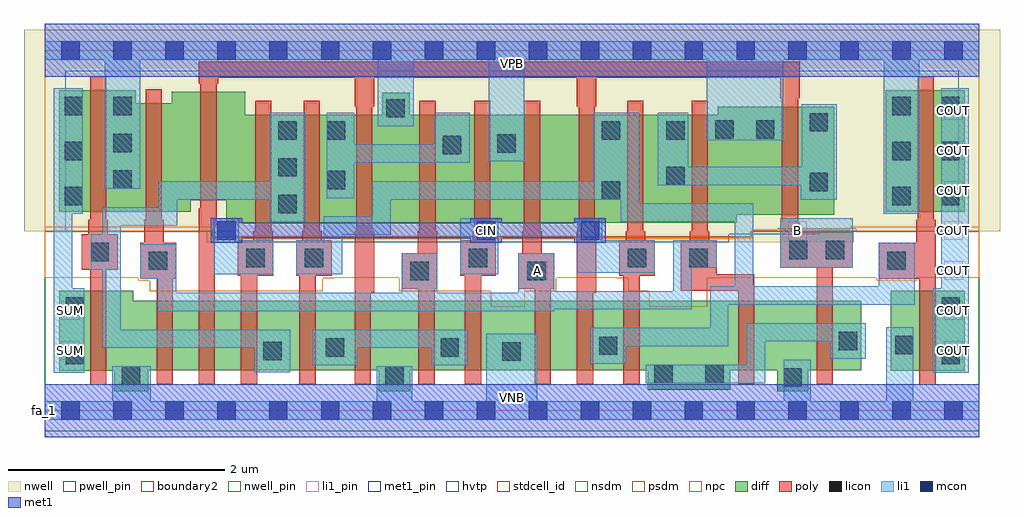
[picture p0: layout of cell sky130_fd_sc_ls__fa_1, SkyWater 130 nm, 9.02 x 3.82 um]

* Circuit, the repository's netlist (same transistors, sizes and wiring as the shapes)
* Copyright 2020 The SkyWater PDK Authors
*
* Licensed under the Apache License, Version 2.0 (the "License");
* you may not use this file except in compliance with the License.
* You may obtain a copy of the License at
*
*     https://www.apache.org/licenses/LICENSE-2.0
*
* Unless required by applicable law or agreed to in writing, software
* distributed under the License is distributed on an "AS IS" BASIS,
* WITHOUT WARRANTIES OR CONDITIONS OF ANY KIND, either express or implied.
* See the License for the specific language governing permissions and
* limitations under the License.
*
* SPDX-License-Identifier: Apache-2.0

.SUBCKT sky130_fd_sc_ls__fa_1 A B CIN VGND VNB VPB VPWR COUT SUM
*.PININFO A:I B:I CIN:I VGND:I VNB:I VPB:I VPWR:I COUT:O SUM:O
MMNs1s nint1 majb sumb VNB sky130_fd_pr__nfet_01v8 m=1 w=0.64U l=0.15U mult=1 sa=0.265
+ sb=0.265 sd=0.28 area=0.063 perim=1.14
MMIN2 COUT majb VGND VNB sky130_fd_pr__nfet_01v8 m=1 w=0.74U l=0.15U mult=1 sa=0.265
+ sb=0.265 sd=0.28 area=0.063 perim=1.14
MMIN3 SUM sumb VGND VNB sky130_fd_pr__nfet_01v8 m=1 w=0.74U l=0.15U mult=1 sa=0.265
+ sb=0.265 sd=0.28 area=0.063 perim=1.14
MMNmaj10 majb B sndNAp1 VNB sky130_fd_pr__nfet_01v8 m=1 w=0.64U l=0.15U mult=1
+ sa=0.265 sb=0.265 sd=0.28 area=0.063 perim=1.14
MMNmaj11 sndNAp1 A VGND VNB sky130_fd_pr__nfet_01v8 m=1 w=0.64U l=0.15U mult=1
+ sa=0.265 sb=0.265 sd=0.28 area=0.063 perim=1.14
MMNmaj30 majb CIN sndNCINn3 VNB sky130_fd_pr__nfet_01v8 m=1 w=0.64U l=0.15U mult=1
+ sa=0.265 sb=0.265 sd=0.28 area=0.063 perim=1.14
MMNmaj31 sndNCINn3 B VGND VNB sky130_fd_pr__nfet_01v8 m=1 w=0.64U l=0.15U mult=1
+ sa=0.265 sb=0.265 sd=0.28 area=0.063 perim=1.14
MMNmaj20 VGND A sndNCINn3 VNB sky130_fd_pr__nfet_01v8 m=1 w=0.64U l=0.15U mult=1
+ sa=0.265 sb=0.265 sd=0.28 area=0.063 perim=1.14
MMNs2s0 VGND A sndNAn4 VNB sky130_fd_pr__nfet_01v8 m=1 w=0.64U l=0.15U mult=1 sa=0.265
+ sb=0.265 sd=0.28 area=0.063 perim=1.14
MMNs2s1 sndNAn4 B sndNBn4 VNB sky130_fd_pr__nfet_01v8 m=1 w=0.64U l=0.15U mult=1
+ sa=0.265 sb=0.265 sd=0.28 area=0.063 perim=1.14
MMNs2s2 sndNBn4 CIN sumb VNB sky130_fd_pr__nfet_01v8 m=1 w=0.64U l=0.15U mult=1
+ sa=0.265 sb=0.265 sd=0.28 area=0.063 perim=1.14
MMNs3s0 nint1 B VGND VNB sky130_fd_pr__nfet_01v8 m=1 w=0.64U l=0.15U mult=1 sa=0.265
+ sb=0.265 sd=0.28 area=0.063 perim=1.14
MMNs3s1 nint1 A VGND VNB sky130_fd_pr__nfet_01v8 m=1 w=0.64U l=0.15U mult=1 sa=0.265
+ sb=0.265 sd=0.28 area=0.063 perim=1.14
MMNs3s2 nint1 CIN VGND VNB sky130_fd_pr__nfet_01v8 m=1 w=0.64U l=0.15U mult=1 sa=0.265
+ sb=0.265 sd=0.28 area=0.063 perim=1.14
MMIP2 COUT majb VPWR VPB sky130_fd_pr__pfet_01v8_hvt m=1 w=1.12U l=0.15U mult=1
+ sa=0.265 sb=0.265 sd=0.28 area=0.063 perim=1.14
MMIP3 SUM sumb VPWR VPB sky130_fd_pr__pfet_01v8_hvt m=1 w=1.12U l=0.15U mult=1
+ sa=0.265 sb=0.265 sd=0.28 area=0.063 perim=1.14
MMPmaj10 VPWR A sndPAp1 VPB sky130_fd_pr__pfet_01v8_hvt m=1 w=1.0U l=0.15U mult=1
+ sa=0.265 sb=0.265 sd=0.28 area=0.063 perim=1.14
MMPmaj11 sndPAp1 B majb VPB sky130_fd_pr__pfet_01v8_hvt m=1 w=1.0U l=0.15U mult=1
+ sa=0.265 sb=0.265 sd=0.28 area=0.063 perim=1.14
MMPmaj20 VPWR A sndPCINp3 VPB sky130_fd_pr__pfet_01v8_hvt m=1 w=1.0U l=0.15U mult=1
+ sa=0.265 sb=0.265 sd=0.28 area=0.063 perim=1.14
MMPmaj21 sndPCINp3 CIN majb VPB sky130_fd_pr__pfet_01v8_hvt m=1 w=1.0U l=0.15U mult=1
+ sa=0.265 sb=0.265 sd=0.28 area=0.063 perim=1.14
MMPmaj31 sndPCINp3 B VPWR VPB sky130_fd_pr__pfet_01v8_hvt m=1 w=1.0U l=0.15U mult=1
+ sa=0.265 sb=0.265 sd=0.28 area=0.063 perim=1.14
MMPs2s0 VPWR A sndPAp4 VPB sky130_fd_pr__pfet_01v8_hvt m=1 w=1.0U l=0.15U mult=1
+ sa=0.265 sb=0.265 sd=0.28 area=0.063 perim=1.14
MMPs2s1 sndPAp4 B sndPBp4 VPB sky130_fd_pr__pfet_01v8_hvt m=1 w=1.0U l=0.15U mult=1
+ sa=0.265 sb=0.265 sd=0.28 area=0.063 perim=1.14
MMPs2s2 sndPBp4 CIN sumb VPB sky130_fd_pr__pfet_01v8_hvt m=1 w=1.0U l=0.15U mult=1
+ sa=0.265 sb=0.265 sd=0.28 area=0.063 perim=1.14
MMPs3s0 pint1 B VPWR VPB sky130_fd_pr__pfet_01v8_hvt m=1 w=1.0U l=0.15U mult=1
+ sa=0.265 sb=0.265 sd=0.28 area=0.063 perim=1.14
MMPs3s1 pint1 A VPWR VPB sky130_fd_pr__pfet_01v8_hvt m=1 w=1.0U l=0.15U mult=1
+ sa=0.265 sb=0.265 sd=0.28 area=0.063 perim=1.14
MMPs3s2 pint1 CIN VPWR VPB sky130_fd_pr__pfet_01v8_hvt m=1 w=1.0U l=0.15U mult=1
+ sa=0.265 sb=0.265 sd=0.28 area=0.063 perim=1.14
MMPs1s pint1 majb sumb VPB sky130_fd_pr__pfet_01v8_hvt m=1 w=1.0U l=0.15U mult=1
+ sa=0.265 sb=0.265 sd=0.28 area=0.063 perim=1.14
.ENDS sky130_fd_sc_ls__fa_1

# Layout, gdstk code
import gdstk
lib = gdstk.Library(unit=1e-6, precision=1e-09)
def R(c, l, rs):  # rectangles x0, y0, x1, y1
    for r in rs: c.add(gdstk.rectangle(r[:2], r[2:], *l))
def A(c, l, x, y, w, h, nx, ny, dx, dy):  # array of equal rectangles
    R(c, l, [(x+i*dx, y+j*dy, x+i*dx+w, y+j*dy+h) for i in range(nx) for j in range(ny)])
def P(c, l, *ps):  # polygons
    for p in ps: c.add(gdstk.Polygon(p, *l))
nwell_pin = (64, 16)
nwell = (64, 20)
diff = (65, 20)
poly = (66, 20)
licon = (66, 44)
li1_pin = (67, 16)
li1 = (67, 20)
mcon = (67, 44)
met1_pin = (68, 16)
met1 = (68, 20)
hvtp = (78, 44)
stdcell_id = (81, 4)
nsdm = (93, 44)
psdm = (94, 20)
npc = (95, 20)
pwell_pin = (122, 16)
boundary2 = (236, 0)

sky130_fd_sc_ls__fa_1 = lib.new_cell('sky130_fd_sc_ls__fa_1')
R(sky130_fd_sc_ls__fa_1, nwell_pin, [(0,3.085,8.64,3.33)])
P(sky130_fd_sc_ls__fa_1, nwell, [(8.83,3.52),(-0.19,3.52),(-0.19,1.66),(1.5,1.66),(1.5,1.555),(7.48,1.555),(7.48,1.66),(8.83,1.66)])
R(sky130_fd_sc_ls__fa_1, diff, [(7.82,0.37,8.505,1.11), (7.775,1.84,8.505,2.96)])
P(sky130_fd_sc_ls__fa_1, diff, [(7.3,2.81),(6.22,2.81),(6.22,2.735),(3.375,2.735),(3.375,2.94),(3.12,2.94),(3.12,2.735),(1.855,2.735),(1.855,2.945),(1.175,2.945),(1.175,2.84),(0.845,2.84),(0.845,2.96),(0.135,2.96),(0.135,1.84),(1.35,1.84),(1.35,1.945),(1.68,1.945),(1.68,1.735),(6.395,1.735),(6.395,1.81),(7.3,1.81)],
  [(7.55,1.015),(0.82,1.015),(0.82,1.11),(0.135,1.11),(0.135,0.37),(0.645,0.37),(0.645,0.18),(0.96,0.18),(0.96,0.375),(3.09,0.375),(3.09,0.18),(3.38,0.18),(3.38,0.375),(5.575,0.375),(5.575,0.195),(6.335,0.195),(6.335,0.375),(6.77,0.375),(6.77,0.18),(7.06,0.18),(7.06,0.375),(7.55,0.375)])
P(sky130_fd_sc_ls__fa_1, poly, [(0.675,1.63),(0.585,1.63),(0.585,1.765),(0.57,1.765),(0.57,3.09),(0.42,3.09),(0.42,1.765),(0.405,1.765),(0.405,1.63),(0.345,1.63),(0.345,1.3),(0.42,1.3),(0.42,0.24),(0.57,0.24),(0.57,1.3),(0.675,1.3)],
  [(1.215,1.55),(1.1,1.55),(1.1,1.765),(1.085,1.765),(1.085,2.97),(0.935,2.97),(0.935,1.765),(0.92,1.765),(0.92,1.55),(0.885,1.55),(0.885,1.22),(1.035,1.22),(1.035,0.245),(1.185,0.245),(1.185,1.22),(1.215,1.22)],
  [(2.115,1.575),(2.11,1.575),(2.11,1.66),(2.095,1.66),(2.095,2.865),(1.945,2.865),(1.945,1.66),(1.93,1.66),(1.93,1.575),(1.785,1.575),(1.785,1.245),(1.815,1.245),(1.815,0.245),(1.965,0.245),(1.965,1.245),(2.115,1.245)],
  [(2.655,1.575),(2.56,1.575),(2.56,1.66),(2.545,1.66),(2.545,2.865),(2.395,2.865),(2.395,1.66),(2.38,1.66),(2.38,1.575),(2.325,1.575),(2.325,1.245),(2.355,1.245),(2.355,0.245),(2.505,0.245),(2.505,1.245),(2.655,1.245)],
  [(3.63,1.66),(3.615,1.66),(3.615,2.865),(3.465,2.865),(3.465,1.66),(3.45,1.66),(3.45,1.455),(3.3,1.455),(3.3,1.125),(3.455,1.125),(3.455,0.245),(3.605,0.245),(3.605,1.125),(3.63,1.125)],
  [(4.17,1.575),(4.135,1.575),(4.135,1.66),(4.12,1.66),(4.12,2.865),(3.97,2.865),(3.97,1.66),(3.955,1.66),(3.955,1.575),(3.84,1.575),(3.84,1.245),(3.885,1.245),(3.885,0.245),(4.035,0.245),(4.035,1.245),(4.17,1.245)],
  [(4.71,1.455),(4.595,1.455),(4.595,1.66),(4.58,1.66),(4.58,2.865),(4.43,2.865),(4.43,1.66),(4.415,1.66),(4.415,1.455),(4.38,1.455),(4.38,1.125),(4.53,1.125),(4.53,0.245),(4.68,0.245),(4.68,1.125),(4.71,1.125)],
  [(5.64,1.575),(5.55,1.575),(5.55,1.66),(5.535,1.66),(5.535,2.865),(5.385,2.865),(5.385,1.66),(5.37,1.66),(5.37,1.575),(5.31,1.575),(5.31,1.245),(5.35,1.245),(5.35,0.245),(5.5,0.245),(5.5,1.245),(5.64,1.245)],
  [(6.56,1.26),(6.21,1.26),(6.21,1.575),(6.145,1.575),(6.145,1.66),(6.13,1.66),(6.13,2.865),(5.98,2.865),(5.98,1.66),(5.965,1.66),(5.965,1.575),(5.88,1.575),(5.88,1.11),(6.41,1.11),(6.41,0.245),(6.56,0.245)],
  [(7.47,1.65),(6.98,1.65),(6.98,1.735),(6.965,1.735),(6.965,2.885),(6.98,2.885),(6.98,3.225),(1.425,3.225),(1.425,3.02),(1.44,3.02),(1.44,1.87),(1.425,1.87),(1.425,0.245),(1.575,0.245),(1.575,1.715),(1.59,1.715),(1.59,3.02),(1.605,3.02),(1.605,3.075),(2.865,3.075),(2.865,2.81),(2.88,2.81),(2.88,1.66),(2.865,1.66),(2.865,0.245),(3.015,0.245),(3.015,1.09),(3.045,1.09),(3.045,1.66),(3.03,1.66),(3.03,2.81),(3.045,2.81),(3.045,3.075),(4.92,3.075),(4.92,2.81),(4.935,2.81),(4.935,1.66),(4.92,1.66),(4.92,0.245),(5.07,0.245),(5.07,1.09),(5.1,1.09),(5.1,1.66),(5.085,1.66),(5.085,2.81),(5.1,2.81),(5.1,3.075),(6.8,3.075),(6.8,2.885),(6.815,2.885),(6.815,1.735),(6.8,1.735),(6.8,1.32),(7.135,1.32),(7.135,0.245),(7.285,0.245),(7.285,1.32),(7.47,1.32)],
  [(8.235,1.765),(8.22,1.765),(8.22,3.09),(8.07,3.09),(8.07,1.765),(8.055,1.765),(8.055,1.55),(7.71,1.55),(7.71,1.22),(8.085,1.22),(8.085,0.24),(8.235,0.24)])
A(sky130_fd_sc_ls__fa_1, licon, 2.16, 1.825, 0.17, 0.17, 1, 3, 0, 0.34)
A(sky130_fd_sc_ls__fa_1, licon, 0.185, 1.9, 0.17, 0.17, 1, 3, 0, 0.415)
A(sky130_fd_sc_ls__fa_1, licon, 7.835, 1.9, 0.17, 0.17, 1, 3, 0, 0.415)
A(sky130_fd_sc_ls__fa_1, licon, 8.285, 1.9, 0.17, 0.17, 1, 3, 0, 0.415)
A(sky130_fd_sc_ls__fa_1, licon, 0.635, 2.05, 0.17, 0.17, 1, 3, 0, 0.34)
R(sky130_fd_sc_ls__fa_1, licon, [(6.83,0.22,7,0.39), (0.715,0.24,0.885,0.41), (3.15,0.24,3.32,0.41), (5.635,0.255,5.805,0.425), (6.105,0.255,6.275,0.425), (0.195,0.43,0.365,0.6), (8.29,0.43,8.46,0.6), (4.23,0.46,4.4,0.63), (2.02,0.465,2.19,0.635), (2.6,0.5,2.77,0.67), (3.66,0.5,3.83,0.67), (5.125,0.515,5.295,0.685), (7.86,0.52,8.03,0.69), (7.34,0.56,7.51,0.73), (0.195,0.88,0.365,1.05), (8.29,0.88,8.46,1.05), (3.38,1.205,3.55,1.375), (4.46,1.205,4.63,1.375), (0.965,1.3,1.135,1.47), (7.79,1.3,7.96,1.47), (1.865,1.325,2.035,1.495), (2.405,1.325,2.575,1.495), (3.92,1.325,4.09,1.495), (5.39,1.325,5.56,1.495), (5.96,1.325,6.13,1.495), (0.425,1.38,0.595,1.55), (6.88,1.4,7.05,1.57), (7.22,1.4,7.39,1.57), (5.15,1.95,5.32,2.12), (7.07,2.03,7.24,2.2), (2.61,2.045,2.78,2.215), (5.745,2.085,5.915,2.255), (3.68,2.37,3.85,2.54), (4.185,2.385,4.355,2.555), (2.61,2.505,2.78,2.675), (5.15,2.505,5.32,2.675), (5.745,2.505,5.915,2.675), (6.2,2.515,6.37,2.685), (6.575,2.515,6.745,2.685), (7.07,2.58,7.24,2.75), (3.16,2.71,3.33,2.88)])
A(sky130_fd_sc_ls__fa_1, li1_pin, 8.315, 0.47, 0.17, 0.17, 1, 7, 0, 0.37)
R(sky130_fd_sc_ls__fa_1, li1_pin, [(0.155,0.47,0.325,0.64), (0.155,0.84,0.325,1.01), (4.475,1.21,4.645,1.38), (6.875,1.58,7.045,1.75)])
R(sky130_fd_sc_ls__fa_1, li1, [(3.84,1.26,4.195,1.78), (6.8,1.32,7.47,1.78)])
P(sky130_fd_sc_ls__fa_1, li1, [(7.59,0.81),(6.49,0.81),(6.49,0.425),(5.555,0.425),(5.555,0.255),(6.66,0.255),(6.66,0.64),(7.26,0.64),(7.26,0.48),(7.59,0.48)],
  [(8.04,1.55),(7.71,1.55),(7.71,1.15),(6.55,1.15),(6.55,1.915),(5.495,1.915),(5.495,2.755),(5.07,2.755),(5.07,2.12),(3.03,2.12),(3.03,1.795),(2.58,1.795),(2.58,1.575),(2.325,1.575),(2.325,1.26),(2.75,1.26),(2.75,1.625),(3.2,1.625),(3.2,1.95),(5.325,1.95),(5.325,1.745),(6.38,1.745),(6.38,1.15),(6.15,1.15),(6.15,0.765),(5.045,0.765),(5.045,0.435),(5.375,0.435),(5.375,0.595),(6.32,0.595),(6.32,0.98),(8.04,0.98)],
  [(8.54,2.98),(8.285,2.98),(8.285,1.13),(8.21,1.13),(8.21,0.35),(8.54,0.35)],
  [(8.64,3.415),(0,3.415),(0,3.245),(0.555,3.245),(0.555,2.05),(0.885,2.05),(0.885,3.245),(3.08,3.245),(3.08,2.63),(3.41,2.63),(3.41,3.245),(4.105,3.245),(4.105,2.305),(4.435,2.305),(4.435,3.245),(6.12,3.245),(6.12,2.5),(6.825,2.5),(6.825,3.245),(7.755,3.245),(7.755,1.82),(8.085,1.82),(8.085,3.245),(8.64,3.245)],
  [(8.64,0.085),(8.03,0.085),(8.03,0.77),(7.78,0.77),(7.78,0.085),(7.08,0.085),(7.08,0.47),(6.83,0.47),(6.83,0.085),(4.555,0.085),(4.555,0.71),(4.08,0.71),(4.08,0.085),(3.4,0.085),(3.4,0.41),(3.07,0.41),(3.07,0.085),(0.98,0.085),(0.98,0.41),(0.625,0.41),(0.625,0.085),(0,0.085),(0,-0.085),(8.64,-0.085)],
  [(0.365,1.13),(0.255,1.13),(0.255,1.82),(0.355,1.82),(0.355,2.98),(0.085,2.98),(0.085,0.35),(0.365,0.35)],
  [(2.115,1.575),(1.795,1.575),(1.795,1.78),(1.565,1.78),(1.565,1.26),(2.115,1.26)],
  [(2.41,2.755),(2.08,2.755),(2.08,2.12),(1.055,2.12),(1.055,1.88),(0.535,1.88),(0.535,1.63),(0.425,1.63),(0.425,1.3),(0.535,1.3),(0.535,0.58),(1.94,0.58),(1.94,0.355),(2.27,0.355),(2.27,0.75),(0.705,0.75),(0.705,1.71),(1.225,1.71),(1.225,1.95),(2.08,1.95),(2.08,1.745),(2.41,1.745)],
  [(3.91,0.75),(2.48,0.75),(2.48,0.42),(2.89,0.42),(2.89,0.58),(3.58,0.58),(3.58,0.42),(3.91,0.42)],
  [(3.93,2.755),(3.6,2.755),(3.6,2.46),(2.86,2.46),(2.86,2.755),(2.61,2.755),(2.61,1.965),(2.86,1.965),(2.86,2.29),(3.93,2.29)],
  [(5.64,1.575),(5.155,1.575),(5.155,1.78),(4.925,1.78),(4.925,1.275),(5.64,1.275)],
  [(6.21,1.575),(5.81,1.575),(5.81,1.105),(4.71,1.105),(4.71,1.455),(4.38,1.455),(4.38,1.09),(3.63,1.09),(3.63,1.455),(3.3,1.455),(3.3,1.09),(1.215,1.09),(1.215,1.54),(0.885,1.54),(0.885,1.22),(1.045,1.22),(1.045,0.92),(4.71,0.92),(4.71,0.935),(5.98,0.935),(5.98,1.32),(6.21,1.32)],
  [(7.32,2.83),(7,2.83),(7,2.255),(5.95,2.255),(5.95,2.755),(5.665,2.755),(5.665,2.085),(6.99,2.085),(6.99,1.95),(7.32,1.95)])
A(sky130_fd_sc_ls__fa_1, mcon, 0.155, -0.085, 0.17, 0.17, 18, 2, 0.48, 3.33)
R(sky130_fd_sc_ls__fa_1, mcon, [(1.595,1.58,1.765,1.75), (3.995,1.58,4.165,1.75), (4.955,1.58,5.125,1.75)])
R(sky130_fd_sc_ls__fa_1, met1_pin, [(0,0,8.64,0.245), (3.995,1.58,4.165,1.75), (0,3.085,8.64,3.33)])
R(sky130_fd_sc_ls__fa_1, met1, [(0,-0.245,8.64,0.245), (0,3.085,8.64,3.575)])
P(sky130_fd_sc_ls__fa_1, met1, [(5.185,1.78),(4.895,1.78),(4.895,1.735),(4.225,1.735),(4.225,1.78),(3.935,1.78),(3.935,1.735),(1.825,1.735),(1.825,1.78),(1.535,1.78),(1.535,1.55),(1.825,1.55),(1.825,1.595),(3.935,1.595),(3.935,1.55),(4.225,1.55),(4.225,1.595),(4.895,1.595),(4.895,1.55),(5.185,1.55)])
P(sky130_fd_sc_ls__fa_1, hvtp, [(8.45,3.14),(0.19,3.14),(0.19,1.66),(1.75,1.66),(1.75,1.555),(6.325,1.555),(6.325,1.63),(7.16,1.63),(7.16,1.66),(8.45,1.66)])
R(sky130_fd_sc_ls__fa_1, stdcell_id, [(0,0,8.64,3.33)])
P(sky130_fd_sc_ls__fa_1, nsdm, [(8.64,1.66),(6.525,1.66),(6.525,1.605),(1.55,1.605),(1.55,1.66),(0,1.66),(0,-0.19),(8.64,-0.19)])
P(sky130_fd_sc_ls__fa_1, psdm, [(8.64,3.52),(0,3.52),(0,1.66),(1.55,1.66),(1.55,1.605),(6.525,1.605),(6.525,1.66),(6.77,1.66),(6.77,1.68),(7.5,1.68),(7.5,1.66),(8.64,1.66)])
P(sky130_fd_sc_ls__fa_1, npc, [(8.64,1.7),(7.44,1.7),(7.44,1.67),(6.535,1.67),(6.535,1.595),(1.54,1.595),(1.54,1.7),(0,1.7),(0,1.23),(0.865,1.23),(0.865,1.2),(0.97,1.2),(0.97,1.105),(2.57,1.105),(2.57,1.225),(2.675,1.225),(2.675,1.23),(3.28,1.23),(3.28,1.105),(4.125,1.105),(4.125,0.96),(4.44,0.96),(4.44,1.105),(4.73,1.105),(4.73,1.23),(5.29,1.23),(5.29,1.225),(5.395,1.225),(5.395,1.105),(5.59,1.105),(5.59,0.96),(6.125,0.96),(6.125,1.225),(6.23,1.225),(6.23,1.23),(7.69,1.23),(7.69,1.2),(8.06,1.2),(8.06,1.23),(8.64,1.23)])
R(sky130_fd_sc_ls__fa_1, pwell_pin, [(0,0,8.64,0.245)])
R(sky130_fd_sc_ls__fa_1, boundary2, [(0,0,8.64,3.33)])
sky130_fd_sc_ls__fa_1.add(gdstk.Label('fa_1', (0,0), layer=83, texttype=44))
sky130_fd_sc_ls__fa_1.add(gdstk.Label('VNB', (4.32,0.123), layer=64, texttype=59))
sky130_fd_sc_ls__fa_1.add(gdstk.Label('VPB', (4.32,3.208), layer=64, texttype=5))
sky130_fd_sc_ls__fa_1.add(gdstk.Label('CIN', (4.08,1.665), layer=68, texttype=5))
sky130_fd_sc_ls__fa_1.add(gdstk.Label('VPWR', (4.32,3.208), layer=68, texttype=5))
sky130_fd_sc_ls__fa_1.add(gdstk.Label('VGND', (4.32,0.123), layer=68, texttype=5))
sky130_fd_sc_ls__fa_1.add(gdstk.Label('A', (4.56,1.295), layer=67, texttype=5))
sky130_fd_sc_ls__fa_1.add(gdstk.Label('B', (6.96,1.665), layer=67, texttype=5))
sky130_fd_sc_ls__fa_1.add(gdstk.Label('COUT', (8.4,0.555), layer=67, texttype=5))
sky130_fd_sc_ls__fa_1.add(gdstk.Label('COUT', (8.4,0.925), layer=67, texttype=5))
sky130_fd_sc_ls__fa_1.add(gdstk.Label('COUT', (8.4,1.295), layer=67, texttype=5))
sky130_fd_sc_ls__fa_1.add(gdstk.Label('COUT', (8.4,1.665), layer=67, texttype=5))
sky130_fd_sc_ls__fa_1.add(gdstk.Label('COUT', (8.4,2.035), layer=67, texttype=5))
sky130_fd_sc_ls__fa_1.add(gdstk.Label('COUT', (8.4,2.405), layer=67, texttype=5))
sky130_fd_sc_ls__fa_1.add(gdstk.Label('COUT', (8.4,2.775), layer=67, texttype=5))
sky130_fd_sc_ls__fa_1.add(gdstk.Label('SUM', (0.24,0.555), layer=67, texttype=5))
sky130_fd_sc_ls__fa_1.add(gdstk.Label('SUM', (0.24,0.925), layer=67, texttype=5))

lib.write_gds('sky130_fd_sc_ls__fa_1.gds')
